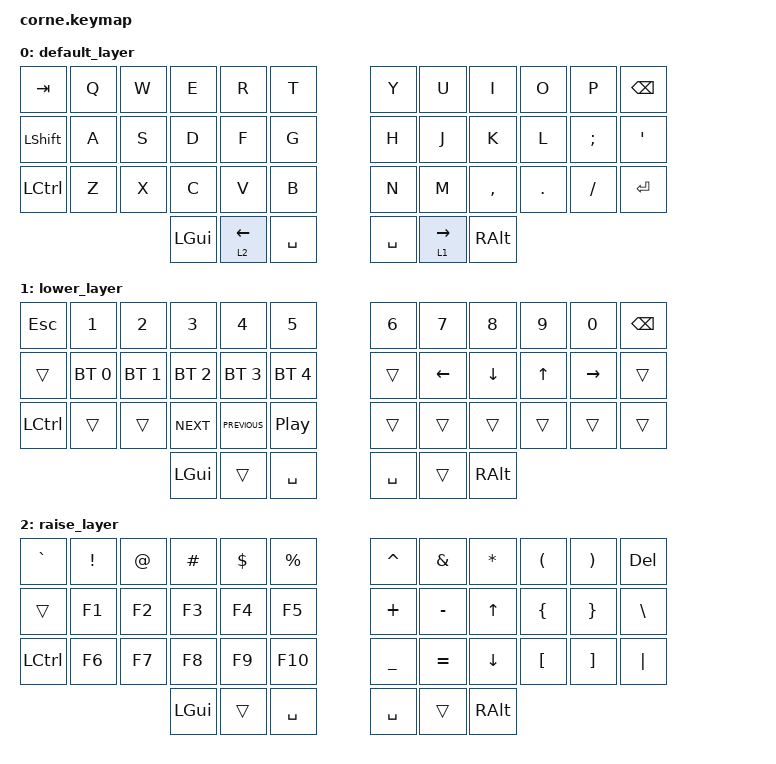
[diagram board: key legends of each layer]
/*
 * Copyright (c) 2020 The ZMK Contributors
 *
 * SPDX-License-Identifier: MIT
 */

#include <behaviors.dtsi>
#include <dt-bindings/zmk/bt.h>
#include <dt-bindings/zmk/keys.h>

/ {
    keymap {
        compatible = "zmk,keymap";

        default_layer {
            // -----------------------------------------------------------------------------------------
            // |  TAB |  Q  |  W  |  E  |  R  |  T  |   |  Y  |  U   |  I  |  O  |  P  | BKSP |
            // | CTRL |  A  |  S  |  D  |  F  |  G  |   |  H  |  J   |  K  |  L  |  ;  |  '   |
            // | SHFT |  Z  |  X  |  C  |  V  |  B  |   |  N  |  M   |  ,  |  .  |  /  | ESC  |
            //                    | GUI | LWR | SPC |   | ENT | RSE  | ALT |

            bindings = <
&kp TAB           &kp Q  &kp W  &kp E     &kp R             &kp T        &kp Y      &kp U              &kp I      &kp O    &kp P     &kp BSPC
&kp LEFT_SHIFT    &kp A  &kp S  &kp D     &kp F             &kp G        &kp H      &kp J              &kp K      &kp L    &kp SEMI  &kp SINGLE_QUOTE
&kp LEFT_CONTROL  &kp Z  &kp X  &kp C     &kp V             &kp B        &kp N      &kp M              &kp COMMA  &kp DOT  &kp FSLH  &kp ENTER
                                &kp LGUI  &lt 2 LEFT_ARROW  &kp SPACE    &kp SPACE  &lt 1 RIGHT_ARROW  &kp RALT
            >;
        };

        lower_layer {
            // -----------------------------------------------------------------------------------------
            // |  TAB |  1  |  2  |  3  |  4  |  5  |   |  6  |  7  |  8  |  9  |  0  | BKSP |
            // | BTCLR| BT1 | BT2 | BT3 | BT4 | BT5 |   | LFT | DWN |  UP | RGT |     |      |
            // | SHFT |     |     |     |     |     |   |     |     |     |     |     |      |
            //                    | GUI |     | SPC |   | ENT |     | ALT |

            bindings = <
&kp ESCAPE        &kp N1        &kp N2        &kp N3        &kp N4          &kp N5              &kp N6     &kp N7          &kp N8          &kp N9        &kp N0           &kp BSPC
&trans            &bt BT_SEL 0  &bt BT_SEL 1  &bt BT_SEL 2  &bt BT_SEL 3    &bt BT_SEL 4        &trans     &kp LEFT_ARROW  &kp DOWN_ARROW  &kp UP_ARROW  &kp RIGHT_ARROW  &trans
&kp LEFT_CONTROL  &trans        &trans        &kp C_NEXT    &kp C_PREVIOUS  &kp C_PLAY_PAUSE    &trans     &trans          &trans          &trans        &trans           &trans
                                              &kp LGUI      &trans          &kp SPACE           &kp SPACE  &trans          &kp RALT
            >;
        };

        raise_layer {
            // -----------------------------------------------------------------------------------------
            // |  TAB |  !  |  @  |  #  |  $  |  %  |   |  ^  |  &  |  *  |  (  |  )  | BKSP |
            // | CTRL |     |     |     |     |     |   |  -  |  =  |  [  |  ]  |  \  |  `   |
            // | SHFT |     |     |     |     |     |   |  _  |  +  |  {  |  }  | "|" |  ~   |
            //                    | GUI |     | SPC |   | ENT |     | ALT |

            bindings = <
&kp GRAVE         &kp EXCL  &kp AT  &kp HASH  &kp DLLR  &kp PRCNT    &kp CARET       &kp AMPS   &kp ASTRK       &kp LPAR          &kp RPAR           &kp DELETE
&trans            &kp F1    &kp F2  &kp F3    &kp F4    &kp F5       &kp PLUS        &kp MINUS  &kp UP_ARROW    &kp LBRC          &kp RBRC           &kp BACKSLASH
&kp LEFT_CONTROL  &kp F6    &kp F7  &kp F8    &kp F9    &kp F10      &kp UNDERSCORE  &kp EQUAL  &kp DOWN_ARROW  &kp LEFT_BRACKET  &kp RIGHT_BRACKET  &kp PIPE
                                    &kp LGUI  &trans    &kp SPACE    &kp SPACE       &trans     &kp RALT
            >;
        };
    };
};
